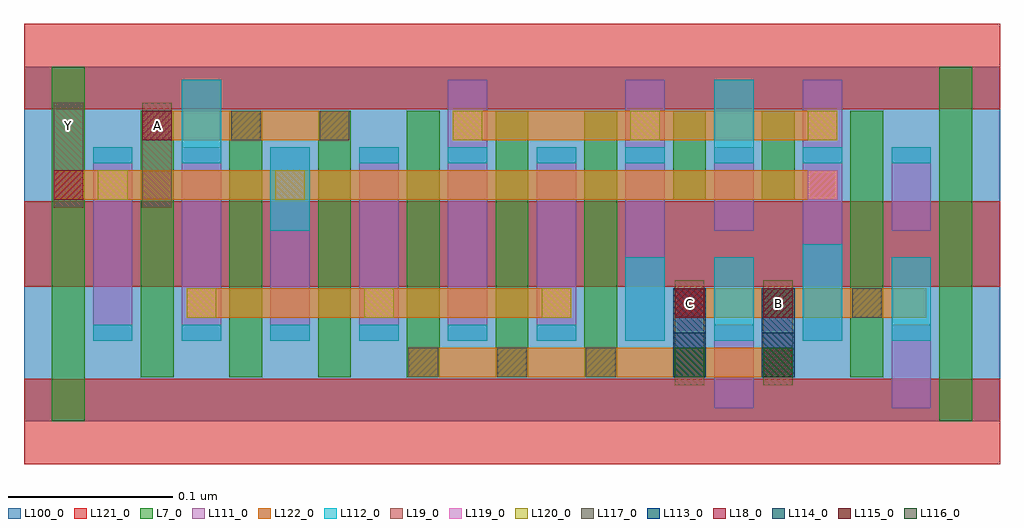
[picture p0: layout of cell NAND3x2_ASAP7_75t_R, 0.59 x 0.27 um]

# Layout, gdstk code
import gdstk
lib = gdstk.Library(unit=1e-6, precision=2.5e-10)
def R(c, l, rs):  # rectangles x0, y0, x1, y1
    for r in rs: c.add(gdstk.rectangle(r[:2], r[2:], *l))
def A(c, l, x, y, w, h, nx, ny, dx, dy):  # array of equal rectangles
    R(c, l, [(x+i*dx, y+j*dy, x+i*dx+w, y+j*dy+h) for i in range(nx) for j in range(ny)])
L7_0 = (7, 0)
L18_0 = (18, 0)
L19_0 = (19, 0)
L100_0 = (100, 0)
L111_0 = (111, 0)
L112_0 = (112, 0)
L113_0 = (113, 0)
L114_0 = (114, 0)
L115_0 = (115, 0)
L116_0 = (116, 0)
L117_0 = (117, 0)
L119_0 = (119, 0)
L120_0 = (120, 0)
L121_0 = (121, 0)
L122_0 = (122, 0)

nand3x2_asap7_75t_r = lib.new_cell('NAND3x2_ASAP7_75t_R')
A(nand3x2_asap7_75t_r, L7_0, 0.071, 0.027, 0.02, 0.081, 6, 2, 0.054, 0.081)
R(nand3x2_asap7_75t_r, L7_0, [(0.017,0,0.037,0.108), (0.557,0,0.577,0.108), (0.503,0.027,0.523,0.108), (0.017,0.108,0.037,0.216), (0.503,0.108,0.523,0.189), (0.557,0.108,0.577,0.216), (0.395,0.135,0.415,0.189), (0.449,0.135,0.469,0.189)])
R(nand3x2_asap7_75t_r, L18_0, [(0.45,0.027,0.468,0.045), (0.396,0.063,0.414,0.081), (0.018,0.135,0.036,0.153), (0.072,0.171,0.09,0.189)])
R(nand3x2_asap7_75t_r, L19_0, [(0.396,0.022,0.414,0.086), (0.45,0.022,0.468,0.086), (0.018,0.13,0.036,0.194), (0.072,0.13,0.09,0.194)])
R(nand3x2_asap7_75t_r, L100_0, [(0,0,0.594,0.216)])
A(nand3x2_asap7_75t_r, L111_0, 0.042, 0.049, 0.024, 0.059, 7, 1, 0.054, 0)
A(nand3x2_asap7_75t_r, L111_0, 0.042, 0.108, 0.024, 0.059, 4, 1, 0.054, 0)
A(nand3x2_asap7_75t_r, L111_0, 0.258, 0.108, 0.024, 0.1, 3, 1, 0.108, 0)
R(nand3x2_asap7_75t_r, L111_0, [(0.42,0.008,0.444,0.059), (0.528,0.008,0.552,0.059), (0.474,0.049,0.498,0.108), (0.312,0.108,0.336,0.167), (0.42,0.116,0.444,0.167), (0.528,0.116,0.552,0.167)])
A(nand3x2_asap7_75t_r, L112_0, 0.042, 0.049, 0.024, 0.01, 6, 1, 0.054, 0)
A(nand3x2_asap7_75t_r, L112_0, 0.204, 0.157, 0.024, 0.01, 4, 1, 0.054, 0)
R(nand3x2_asap7_75t_r, L112_0, [(0.366,0.049,0.39,0.1), (0.42,0.049,0.444,0.1), (0.474,0.049,0.498,0.108), (0.528,0.049,0.552,0.1), (0.15,0.116,0.174,0.167), (0.042,0.157,0.066,0.167), (0.096,0.157,0.12,0.208), (0.42,0.157,0.444,0.208), (0.474,0.157,0.498,0.167), (0.528,0.157,0.552,0.167)])
R(nand3x2_asap7_75t_r, L113_0, [(0.395,0.027,0.415,0.081), (0.449,0.027,0.469,0.081)])
R(nand3x2_asap7_75t_r, L114_0, [(0.395,0.027,0.415,0.054), (0.449,0.027,0.469,0.054)])
R(nand3x2_asap7_75t_r, L115_0, [(0.396,0.063,0.414,0.081), (0.45,0.063,0.468,0.081)])
R(nand3x2_asap7_75t_r, L116_0, [(0.396,0.027,0.414,0.045), (0.45,0.027,0.468,0.045)])
A(nand3x2_asap7_75t_r, L117_0, 0.234, 0.027, 0.018, 0.018, 3, 1, 0.054, 0)
A(nand3x2_asap7_75t_r, L117_0, 0.072, 0.171, 0.018, 0.018, 3, 1, 0.054, 0)
R(nand3x2_asap7_75t_r, L117_0, [(0.504,0.063,0.522,0.081)])
A(nand3x2_asap7_75t_r, L119_0, 0.099, 0.063, 0.018, 0.018, 3, 1, 0.108, 0)
A(nand3x2_asap7_75t_r, L119_0, 0.261, 0.171, 0.018, 0.018, 3, 1, 0.108, 0)
R(nand3x2_asap7_75t_r, L119_0, [(0.045,0.135,0.063,0.153), (0.153,0.135,0.171,0.153), (0.477,0.135,0.495,0.153)])
A(nand3x2_asap7_75t_r, L120_0, 0.099, 0.063, 0.018, 0.018, 3, 1, 0.108, 0)
A(nand3x2_asap7_75t_r, L120_0, 0.261, 0.171, 0.018, 0.018, 3, 1, 0.108, 0)
R(nand3x2_asap7_75t_r, L120_0, [(0.045,0.135,0.063,0.153), (0.153,0.135,0.171,0.153)])
A(nand3x2_asap7_75t_r, L121_0, 0, -0.026, 0.594, 0.052, 1, 3, 0, 0.108)
R(nand3x2_asap7_75t_r, L122_0, [(0.234,0.027,0.468,0.045), (0.099,0.063,0.333,0.081), (0.396,0.063,0.549,0.081), (0.018,0.135,0.495,0.153), (0.072,0.171,0.198,0.189), (0.261,0.171,0.495,0.189)])
nand3x2_asap7_75t_r.add(gdstk.Label('Y', (0.027,0.18), layer=19, texttype=251))
nand3x2_asap7_75t_r.add(gdstk.Label('C', (0.405,0.072), layer=19, texttype=251))
nand3x2_asap7_75t_r.add(gdstk.Label('B', (0.459,0.072), layer=19, texttype=251))
nand3x2_asap7_75t_r.add(gdstk.Label('A', (0.081,0.18), layer=19, texttype=251))

lib.write_gds('NAND3x2_ASAP7_75t_R.gds')
